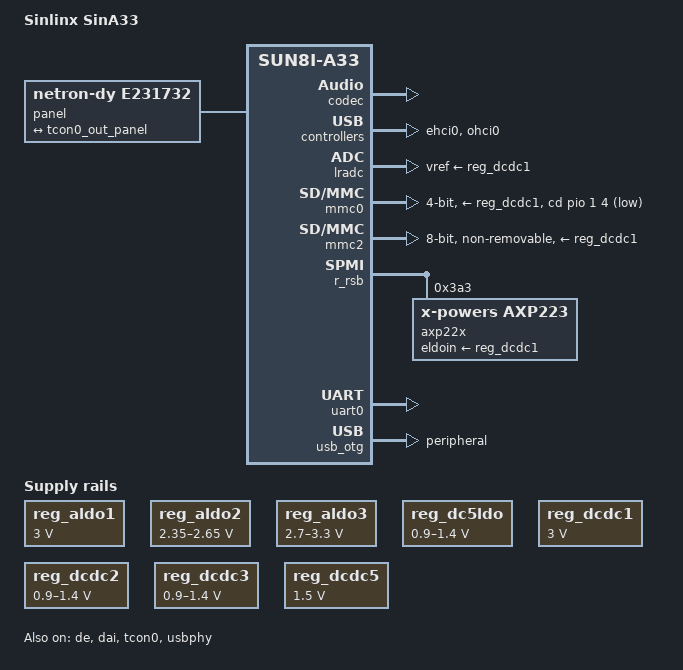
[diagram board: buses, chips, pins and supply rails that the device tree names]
/*
 * Copyright 2015 Chen-Yu Tsai
 *
 * Chen-Yu Tsai <wens@csie.org>
 *
 * This file is dual-licensed: you can use it either under the terms
 * of the GPL or the X11 license, at your option. Note that this dual
 * licensing only applies to this file, and not this project as a
 * whole.
 *
 *  a) This file is free software; you can redistribute it and/or
 *     modify it under the terms of the GNU General Public License as
 *     published by the Free Software Foundation; either version 2 of the
 *     License, or (at your option) any later version.
 *
 *     This file is distributed in the hope that it will be useful,
 *     but WITHOUT ANY WARRANTY; without even the implied warranty of
 *     MERCHANTABILITY or FITNESS FOR A PARTICULAR PURPOSE.  See the
 *     GNU General Public License for more details.
 *
 * Or, alternatively,
 *
 *  b) Permission is hereby granted, free of charge, to any person
 *     obtaining a copy of this software and associated documentation
 *     files (the "Software"), to deal in the Software without
 *     restriction, including without limitation the rights to use,
 *     copy, modify, merge, publish, distribute, sublicense, and/or
 *     sell copies of the Software, and to permit persons to whom the
 *     Software is furnished to do so, subject to the following
 *     conditions:
 *
 *     The above copyright notice and this permission notice shall be
 *     included in all copies or substantial portions of the Software.
 *
 *     THE SOFTWARE IS PROVIDED "AS IS", WITHOUT WARRANTY OF ANY KIND,
 *     EXPRESS OR IMPLIED, INCLUDING BUT NOT LIMITED TO THE WARRANTIES
 *     OF MERCHANTABILITY, FITNESS FOR A PARTICULAR PURPOSE AND
 *     NONINFRINGEMENT. IN NO EVENT SHALL THE AUTHORS OR COPYRIGHT
 *     HOLDERS BE LIABLE FOR ANY CLAIM, DAMAGES OR OTHER LIABILITY,
 *     WHETHER IN AN ACTION OF CONTRACT, TORT OR OTHERWISE, ARISING
 *     FROM, OUT OF OR IN CONNECTION WITH THE SOFTWARE OR THE USE OR
 *     OTHER DEALINGS IN THE SOFTWARE.
 */

/dts-v1/;
#include "sun8i-a33.dtsi"
#include "sunxi-common-regulators.dtsi"

#include <dt-bindings/gpio/gpio.h>
#include <dt-bindings/input/input.h>

/ {
	model = "Sinlinx SinA33";
	compatible = "sinlinx,sina33", "allwinner,sun8i-a33";

	aliases {
		serial0 = &uart0;
	};

	chosen {
		stdout-path = "serial0:115200n8";
	};

	panel {
		compatible = "netron-dy,e231732";

		port {
			panel_input: endpoint {
				remote-endpoint = <&tcon0_out_panel>;
			};
		};
	};
};

&codec {
	status = "okay";
};

&cpu0 {
	cpu-supply = <&reg_dcdc3>;
};

&cpu0_opp_table {
	opp-1104000000 {
		opp-hz = /bits/ 64 <1104000000>;
		opp-microvolt = <1320000>;
		clock-latency-ns = <244144>; /* 8 32k periods */
	};

	opp-1200000000 {
		opp-hz = /bits/ 64 <1200000000>;
		opp-microvolt = <1320000>;
		clock-latency-ns = <244144>; /* 8 32k periods */
	};
};

&de {
	status = "okay";
};

&dai {
	status = "okay";
};

&ehci0 {
	status = "okay";
};

&lradc {
	vref-supply = <&reg_dcdc1>;
	status = "okay";

	button-200 {
		label = "Volume Up";
		linux,code = <KEY_VOLUMEUP>;
		channel = <0>;
		voltage = <191011>;
	};

	button-400 {
		label = "Volume Down";
		linux,code = <KEY_VOLUMEDOWN>;
		channel = <0>;
		voltage = <391304>;
	};

	button-600 {
		label = "Home";
		linux,code = <KEY_HOME>;
		channel = <0>;
		voltage = <600000>;
	};
};

&mmc0 {
	vmmc-supply = <&reg_dcdc1>;
	bus-width = <4>;
	cd-gpios = <&pio 1 4 GPIO_ACTIVE_LOW>; /* PB4 */
	status = "okay";
};

&mmc2 {
	pinctrl-names = "default";
	pinctrl-0 = <&mmc2_8bit_pins>;
	vmmc-supply = <&reg_dcdc1>;
	bus-width = <8>;
	non-removable;
	cap-mmc-hw-reset;
	status = "okay";
};

&mmc2_8bit_pins {
	/* Increase drive strength for DDR modes */
	drive-strength = <40>;
};

&ohci0 {
	status = "okay";
};

&r_rsb {
	status = "okay";

	axp22x: pmic@3a3 {
		compatible = "x-powers,axp223";
		reg = <0x3a3>;
		interrupt-parent = <&nmi_intc>;
		interrupts = <0 IRQ_TYPE_LEVEL_LOW>;
		eldoin-supply = <&reg_dcdc1>;
	};
};

#include "axp223.dtsi"

&ac_power_supply {
	status = "okay";
};

&battery_power_supply {
	status = "okay";
};

&reg_aldo1 {
	regulator-always-on;
	regulator-min-microvolt = <3000000>;
	regulator-max-microvolt = <3000000>;
	regulator-name = "vcc-io";
};

&reg_aldo2 {
	regulator-always-on;
	regulator-min-microvolt = <2350000>;
	regulator-max-microvolt = <2650000>;
	regulator-name = "vdd-dll";
};

&reg_aldo3 {
	regulator-always-on;
	regulator-min-microvolt = <2700000>;
	regulator-max-microvolt = <3300000>;
	regulator-name = "vcc-pll-avcc";
};

&reg_dc5ldo {
	regulator-always-on;
	regulator-min-microvolt = <900000>;
	regulator-max-microvolt = <1400000>;
	regulator-name = "vdd-cpus";
};

&reg_dcdc1 {
	regulator-always-on;
	regulator-min-microvolt = <3000000>;
	regulator-max-microvolt = <3000000>;
	regulator-name = "vcc-3v0";
};

&reg_dcdc2 {
	regulator-always-on;
	regulator-min-microvolt = <900000>;
	regulator-max-microvolt = <1400000>;
	regulator-name = "vdd-sys";
};

&reg_dcdc3 {
	regulator-always-on;
	regulator-min-microvolt = <900000>;
	regulator-max-microvolt = <1400000>;
	regulator-name = "vdd-cpu";
};

&reg_dcdc5 {
	regulator-always-on;
	regulator-min-microvolt = <1500000>;
	regulator-max-microvolt = <1500000>;
	regulator-name = "vcc-dram";
};

&reg_rtc_ldo {
	regulator-name = "vcc-rtc";
};

&sound {
	status = "okay";
};

&tcon0 {
	pinctrl-names = "default";
	pinctrl-0 = <&lcd_rgb666_pins>;
	status = "okay";
};

&tcon0_out {
	tcon0_out_panel: endpoint@0 {
		reg = <0>;
		remote-endpoint = <&panel_input>;
	};
};

&uart0 {
	pinctrl-names = "default";
	pinctrl-0 = <&uart0_pb_pins>;
	status = "okay";
};

&usb_otg {
	dr_mode = "peripheral";
	status = "okay";
};

&usbphy {
	status = "okay";
	usb1_vbus-supply = <&reg_vcc5v0>; /* USB1 VBUS is always on */
};
